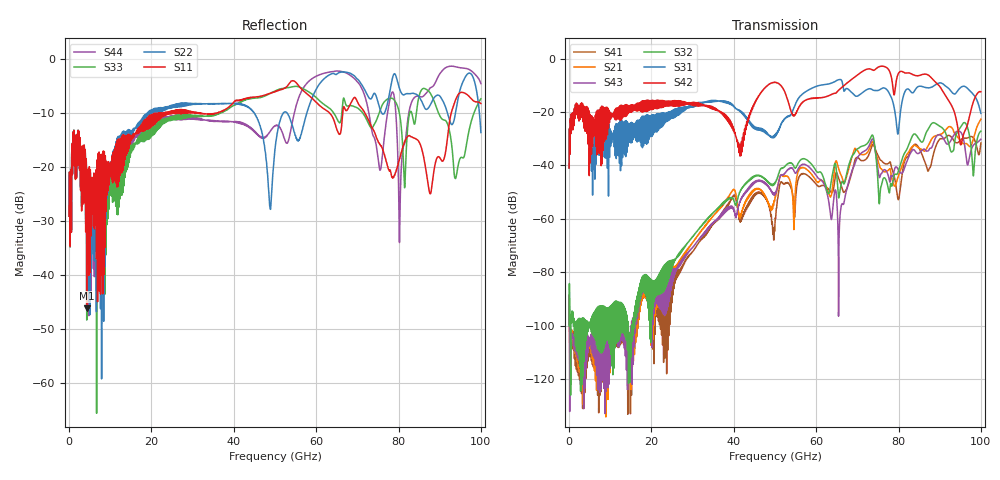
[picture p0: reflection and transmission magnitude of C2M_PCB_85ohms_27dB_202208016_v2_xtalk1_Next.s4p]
! Info: Touchstone file created by Circ.  Input file=Intel_C2M_200G_11p5in_202208016_staggered.circ
# Hz S RI R 50
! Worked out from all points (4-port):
!   10000 points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, 10 MHz to 100 GHz, reference 50 ohm
!   strongest paths, dB at 10 MHz, 25.01 GHz, 50.01 GHz, 75.01 GHz, 100 GHz:
!     S42: -41.0, -16.9, -8.9, -3.3, -12.5
!     S31: -41.1, -21.3, -29.1, -12.0, -20.5
!     S32: -100.1, -77.4, -46.5, -46.2, -27.2
!     S43: -89.6, -81.3, -50.7, -41.7, -30.2
!     S21: -89.2, -79.5, -51.9, -38.2, -22.7
!     S41: -88.5, -80.9, -60.7, -36.3, -31.7
!   lowest |S11| = -46.1 dB at 4.28 GHz (marker M1), VSWR 1.01, Z = 49.5 + j0.159 ohm
!   |S11| at or under -10 dB: start of sweep to 21.92 GHz; 31.51 GHz to 35.97 GHz (4.467 GHz wide, 13.2 % of centre); 71.82 GHz to 92.82 GHz (20.99 GHz wide, 25.5 % of centre)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
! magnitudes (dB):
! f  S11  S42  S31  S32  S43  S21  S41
! 10 MHz  -29.1  -41.0  -41.1  -100.1  -89.6  -89.2  -88.5
! 4.28 GHz  -46.1  -18.0  -19.4  -102.2  -109.6  -111.0  -114.7
! 41.52 GHz  -7.7  -35.5  -19.6  -50.0  -53.8  -59.8  -60.9
! 48.8 GHz  -6.4  -9.5  -28.9  -46.7  -48.8  -55.2  -56.8
! 76.11 GHz  -16.7  -2.9  -11.0  -45.7  -42.4  -41.9  -38.7
! 95.19 GHz  -6.2  -32.2  -10.7  -25.4  -27.7  -31.2  -30.3
! 100 GHz  -8.3  -12.5  -20.5  -27.2  -30.2  -22.7  -31.7
